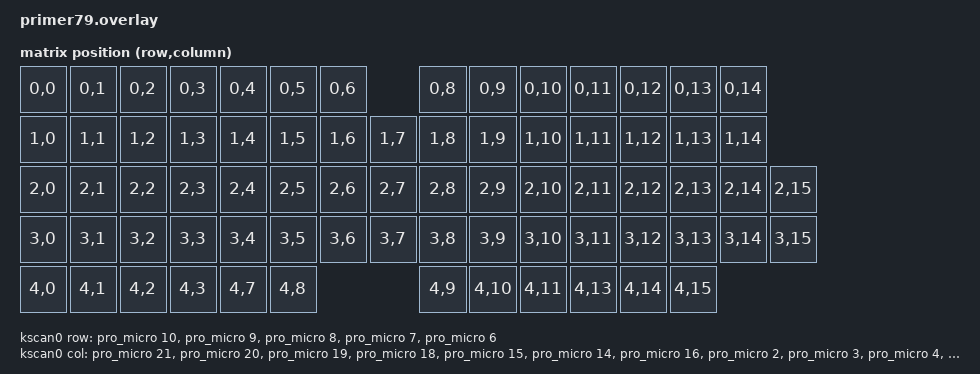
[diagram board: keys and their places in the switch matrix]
#include <dt-bindings/zmk/matrix_transform.h>

/ {
    chosen {
        zmk,kscan = &kscan0;
        zmk,matrix_transform = &default_transform;
    };

    kscan0: kscan {
        compatible = "zmk,kscan-gpio-matrix";
        label = "KSCAN";

        diode-direction = "col2row";
        row-gpios
            = <&pro_micro 10 (GPIO_ACTIVE_HIGH)> // ROW 0 | D7
            , <&pro_micro 9 (GPIO_ACTIVE_HIGH)>  // ROW 1 | C6
            , <&pro_micro 8 (GPIO_ACTIVE_HIGH)>  // ROW 2 | D4
            , <&pro_micro 7 (GPIO_ACTIVE_HIGH)>  // ROW 3 | D0
            , <&pro_micro 6 (GPIO_ACTIVE_HIGH)>  // ROW 4 | D1
            ;
        col-gpios
            = <&pro_micro 21 (GPIO_ACTIVE_HIGH)> // COL 0 | F4
            , <&pro_micro 20 (GPIO_ACTIVE_HIGH)> // COL 1 | F5
            , <&pro_micro 19 (GPIO_ACTIVE_HIGH)> // COL 2 | F6
            , <&pro_micro 18 (GPIO_ACTIVE_HIGH)> // COL 3 | F7
            , <&pro_micro 15 (GPIO_ACTIVE_HIGH)> // COL 4 | B1
            , <&pro_micro 14 (GPIO_ACTIVE_HIGH)> // COL 5 | B3
            , <&pro_micro 16 (GPIO_ACTIVE_HIGH)> // COL 6 | B2
            , <&pro_micro 2 (GPIO_ACTIVE_HIGH)>  // COL 7 | D3 (SDA)
            , <&pro_micro 3 (GPIO_ACTIVE_HIGH)>  // COL 8 | D2 (SCL)
            , <&pro_micro 4 (GPIO_ACTIVE_HIGH)>  // COL 9 | D4 (Shared with Row 2)
            , <&pro_micro 5 (GPIO_ACTIVE_HIGH)>  // COL 10| C6 (Shared with Row 1)
            , <&pro_micro 0 (GPIO_ACTIVE_HIGH)>  // COL 11| D0 (Shared with Row 3)
            , <&pro_micro 1 (GPIO_ACTIVE_HIGH)>  // COL 12| D1 (Shared with Row 4)
            , <&pro_micro 17 (GPIO_ACTIVE_HIGH)> // COL 13| B0 (Not a standard Pro Micro pin)
            , <&pro_micro 22 (GPIO_ACTIVE_HIGH)> // COL 14| D6 (Not a standard Pro Micro pin)
            , <&pro_micro 23 (GPIO_ACTIVE_HIGH)> // COL 15| D5 (Not a standard Pro Micro pin)
            ;
    };

    default_transform: keymap_transform_0 {
        compatible = "zmk,matrix-transform";
        columns = <16>;
        rows = <5>;
        // This map translates the physical matrix to a logical layout for the keymap file.
        // It matches the physical layout of the PRIMER79 PCB.
        map = <
        RC(0,0) RC(0,1) RC(0,2) RC(0,3) RC(0,4) RC(0,5) RC(0,6)           RC(0,8) RC(0,9)  RC(0,10) RC(0,11) RC(0,12) RC(0,13) RC(0,14)
        RC(1,0) RC(1,1) RC(1,2) RC(1,3) RC(1,4) RC(1,5) RC(1,6) RC(1,7)   RC(1,8) RC(1,9)  RC(1,10) RC(1,11) RC(1,12) RC(1,13) RC(1,14)
        RC(2,0) RC(2,1) RC(2,2) RC(2,3) RC(2,4) RC(2,5) RC(2,6) RC(2,7)   RC(2,8) RC(2,9)  RC(2,10) RC(2,11) RC(2,12) RC(2,13) RC(2,14) RC(2,15)
        RC(3,0) RC(3,1) RC(3,2) RC(3,3) RC(3,4) RC(3,5) RC(3,6) RC(3,7)   RC(3,8) RC(3,9)  RC(3,10) RC(3,11) RC(3,12) RC(3,13) RC(3,14) RC(3,15)
        RC(4,0) RC(4,1) RC(4,2) RC(4,3)           RC(4,7)   RC(4,8) RC(4,9)  RC(4,10) RC(4,11)          RC(4,13) RC(4,14) RC(4,15)
        >;
    };
};

